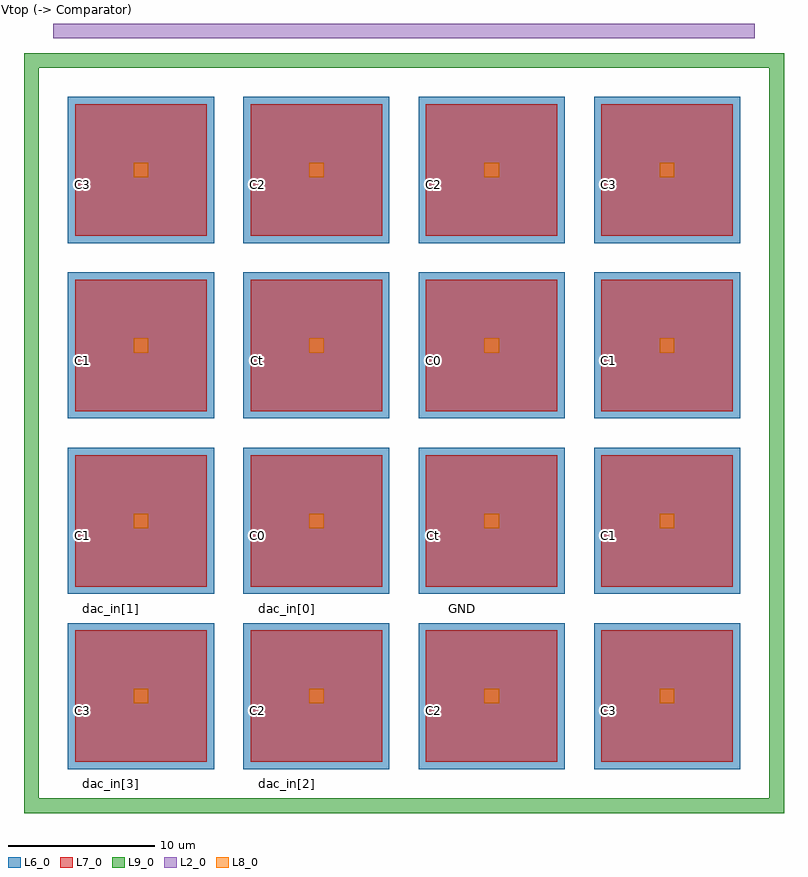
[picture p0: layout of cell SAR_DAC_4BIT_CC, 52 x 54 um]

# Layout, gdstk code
import gdstk
lib = gdstk.Library(unit=1e-6, precision=1e-09)
def R(c, l, rs):  # rectangles x0, y0, x1, y1
    for r in rs: c.add(gdstk.rectangle(r[:2], r[2:], *l))
def A(c, l, x, y, w, h, nx, ny, dx, dy):  # array of equal rectangles
    R(c, l, [(x+i*dx, y+j*dy, x+i*dx+w, y+j*dy+h) for i in range(nx) for j in range(ny)])
L2_0 = (2, 0)
L6_0 = (6, 0)
L7_0 = (7, 0)
L8_0 = (8, 0)
L9_0 = (9, 0)

sar_dac_4bit_cc = lib.new_cell('SAR_DAC_4BIT_CC')
R(sar_dac_4bit_cc, L2_0, [(-1,50,47,51)])
A(sar_dac_4bit_cc, L6_0, 0, 0, 10, 10, 4, 4, 12, 12)
A(sar_dac_4bit_cc, L7_0, 0.5, 0.5, 9, 9, 4, 4, 12, 12)
A(sar_dac_4bit_cc, L8_0, 4.5, 4.5, 1, 1, 4, 4, 12, 12)
R(sar_dac_4bit_cc, L9_0, [(-3,-3,49,-2), (-3,-3,-2,49), (48,-3,49,49), (-3,48,49,49)])
sar_dac_4bit_cc.add(gdstk.Label('C3', (1,4), layer=10, texttype=0))
sar_dac_4bit_cc.add(gdstk.Label('C2', (13,4), layer=10, texttype=0))
sar_dac_4bit_cc.add(gdstk.Label('C2', (25,4), layer=10, texttype=0))
sar_dac_4bit_cc.add(gdstk.Label('C3', (37,4), layer=10, texttype=0))
sar_dac_4bit_cc.add(gdstk.Label('C1', (1,16), layer=10, texttype=0))
sar_dac_4bit_cc.add(gdstk.Label('C0', (13,16), layer=10, texttype=0))
sar_dac_4bit_cc.add(gdstk.Label('Ct', (25,16), layer=10, texttype=0))
sar_dac_4bit_cc.add(gdstk.Label('C1', (37,16), layer=10, texttype=0))
sar_dac_4bit_cc.add(gdstk.Label('C1', (1,28), layer=10, texttype=0))
sar_dac_4bit_cc.add(gdstk.Label('Ct', (13,28), layer=10, texttype=0))
sar_dac_4bit_cc.add(gdstk.Label('C0', (25,28), layer=10, texttype=0))
sar_dac_4bit_cc.add(gdstk.Label('C1', (37,28), layer=10, texttype=0))
sar_dac_4bit_cc.add(gdstk.Label('C3', (1,40), layer=10, texttype=0))
sar_dac_4bit_cc.add(gdstk.Label('C2', (13,40), layer=10, texttype=0))
sar_dac_4bit_cc.add(gdstk.Label('C2', (25,40), layer=10, texttype=0))
sar_dac_4bit_cc.add(gdstk.Label('C3', (37,40), layer=10, texttype=0))
sar_dac_4bit_cc.add(gdstk.Label('Vtop (-> Comparator)', (0,52), layer=10, texttype=0))
sar_dac_4bit_cc.add(gdstk.Label('dac_in[3]', (3,-1), layer=10, texttype=0))
sar_dac_4bit_cc.add(gdstk.Label('dac_in[2]', (15,-1), layer=10, texttype=0))
sar_dac_4bit_cc.add(gdstk.Label('dac_in[1]', (3,11), layer=10, texttype=0))
sar_dac_4bit_cc.add(gdstk.Label('dac_in[0]', (15,11), layer=10, texttype=0))
sar_dac_4bit_cc.add(gdstk.Label('GND', (27,11), layer=10, texttype=0))

lib.write_gds('SAR_DAC_4BIT_CC.gds')
